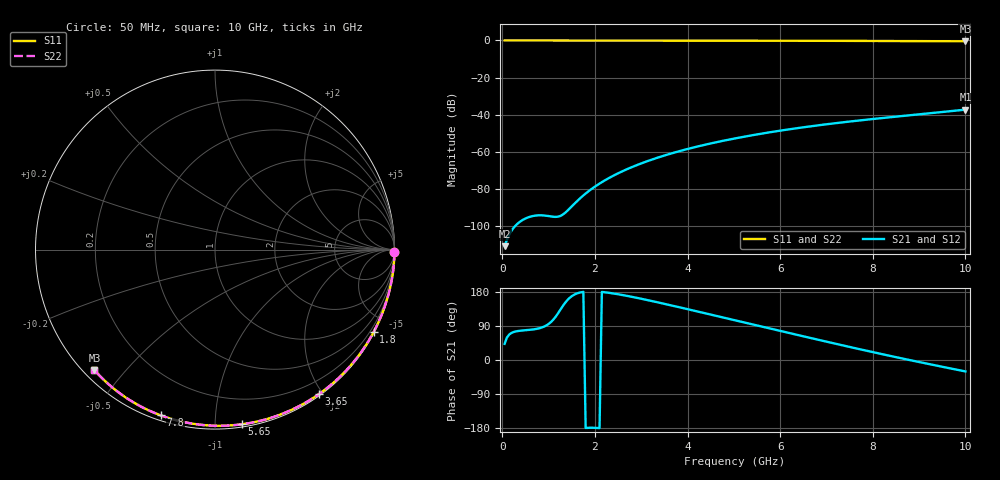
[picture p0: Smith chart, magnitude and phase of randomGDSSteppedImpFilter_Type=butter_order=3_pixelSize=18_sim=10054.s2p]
! freq	dB(S11)	phase(S11)	dB(S12)	phase(S12)
!  dB(S21)	phase(S21)	dB(S22)	phase(S22)
!S-par simulation data
#  GHz  S  DB  R 50
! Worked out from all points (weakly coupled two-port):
!   200 points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, 50 MHz to 10 GHz, reference 50 ohm
!   highest |S21| = -37.27 dB at 10 GHz (marker M1); lowest = -110.9 dB at 50 MHz (marker M2)
!   lowest |S11| = -0.4 dB at 10 GHz (marker M3), VSWR 38.64, Z = 1.52 - j20.7 ohm
!   |S11| at or under -10 dB: nowhere
!   |S22| runs from -0.4 to 0.0 dB; largest |S21 - S12| = 0
!   S11 on the Smith chart (normalised r, x): 50 MHz: open; 1.8 GHz: 0.04, -4.11; 3.65 GHz: 0.02, -1.95; 5.65 GHz: 0.02, -1.17; 7.8 GHz: 0.02, -0.72; 10 GHz: 0.03, -0.41
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0.05  -0.00 -0.8  -110.89 42.6  -110.89 42.6  -0.00 -0.8
0.85  -0.01 -13.1  -94.25 85.6  -94.25 85.6  -0.01 -13.1
1.75  -0.03 -26.6  -83.55 179.9  -83.55 179.9  -0.03 -26.6
1.8  -0.03 -27.4  -82.51 -179.4  -82.51 -179.4  -0.03 -27.4
1.9  -0.04 -28.8  -80.57 -178.7  -80.57 -178.7  -0.04 -28.8
1.95  -0.04 -29.6  -79.66 -178.8  -79.66 -178.8  -0.04 -29.6
2.1  -0.04 -31.8  -77.15 -179.8  -77.15 -179.8  -0.04 -31.8
2.25  -0.04 -34.0  -74.89 178.2  -74.89 178.2  -0.04 -34.0
2.55  -0.05 -38.4  -71.01 172.4  -71.01 172.4  -0.05 -38.4
2.95  -0.06 -44.2  -66.75 162.9  -66.75 162.9  -0.06 -44.2
3.4  -0.07 -50.7  -62.81 151.0  -62.81 151.0  -0.07 -50.7
3.65  -0.07 -54.2  -60.90 144.1  -60.90 144.1  -0.07 -54.2
4.3  -0.09 -63.2  -56.66 125.6  -56.66 125.6  -0.09 -63.2
5.05  -0.11 -73.3  -52.68 104.1  -52.68 104.1  -0.11 -73.3
5.65  -0.13 -81.2  -50.01 86.8  -50.01 86.8  -0.13 -81.2
6.15  -0.15 -87.7  -48.06 72.5  -48.06 72.5  -0.15 -87.7
6.7  -0.18 -94.6  -46.14 56.8  -46.14 56.8  -0.18 -94.6
7.25  -0.21 -101.4  -44.43 41.4  -44.43 41.4  -0.21 -101.4
7.8  -0.25 -108.1  -42.88 26.2  -42.88 26.2  -0.25 -108.1
8.35  -0.29 -114.8  -41.45 11.5  -41.45 11.5  -0.29 -114.8
9.2  -0.36 -125.1  -39.35 -10.4  -39.35 -10.4  -0.36 -125.1
10  -0.45 -135.0  -37.27 -30.2  -37.27 -30.2  -0.45 -135.0
